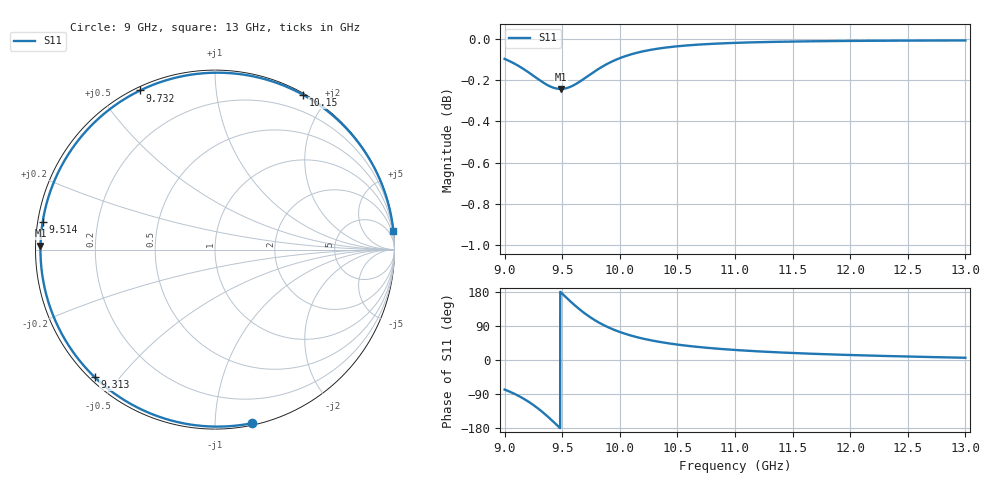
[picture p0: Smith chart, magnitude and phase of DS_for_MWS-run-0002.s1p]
! TOUCHSTONE file generated by CST DESIGN STUDIO
! Date and time: Tue Feb  4 14:24:05 2025
! Project name: C:\Work\MatlabApps\UnitCellOptimizationMatlab\CST\unitcell.cst
! Tree item: Tasks\Sweep1\SPara1\S-Parameters
! Header version: 2024
! Port assignment regex: !\s*Touchstone port\s*([0-9]+)\s*=\s*(CST MWS port|CST DES external port|CST DES block port)\s*(.+)\s* \(\"(.*)\"\)(\s*mode\s*([0-9]+))?.*
! Touchstone port assignment:
! Touchstone port 1 = CST DES external port 1 ("")
# GHz S MA R 50
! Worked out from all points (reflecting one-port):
!   4001 points, 9 GHz to 13 GHz, reference 50 ohm
!   lowest |S11| = -0.2 dB at 9.487 GHz (marker M1), VSWR 71.67, Z = 0.698 + j0.559 ohm
!   phase of S11 starts at -78 deg and turns -276 deg over the sweep
!   S11 on the Smith chart (normalised r, x): 9 GHz: 0.01, -1.23; 9.313 GHz: 0.01, -0.43; 9.514 GHz: 0.01, +0.08; 9.732 GHz: 0.01, +0.64; 10.15 GHz: 0.02, +1.72; 13 GHz: 0, +20
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9  0.989 -78.0
9.079  0.9866 -88.3
9.178  0.9828 -104.4
9.248  0.9798 -118.4
9.313  0.9769 -133.4
9.359  0.975 -145.2
9.407  0.9735 -158.3
9.448  0.9727 -170.0
9.487  0.9725 178.7
9.5  0.9725 174.9
9.514  0.9726 170.9
9.567  0.9735 155.8
9.627  0.9755 139.7
9.679  0.9776 126.9
9.732  0.9799 115.2
9.786  0.9822 104.5
9.846  0.9846 94.3
9.922  0.9872 83.3
10  0.9894 73.9
10.148  0.9924 60.3
10.307  0.9944 49.8
10.5  0.996 40.7
10.722  0.9971 33.2
11  0.9979 26.5
11.5  0.9986 18.5
12  0.999 13.1
12.5  0.9991 9.1
13  0.9992 5.9
